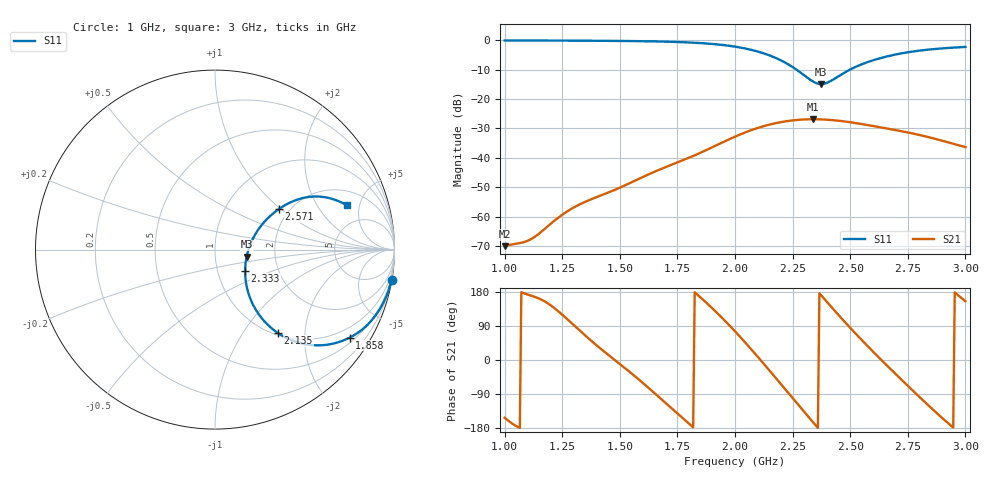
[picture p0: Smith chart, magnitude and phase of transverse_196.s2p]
! TOUCHSTONE file generated by CST MICROWAVE STUDIO
! Date and time: Tue Mar 11 13:57:40 2025
! Project name: transverse.cst
! Parameters = {Fracture=5; B=12.5; D=160; F=15; Feed=2.85625; L=100; M=10; R=0.384908; S=2; Theta=180; length=57.125; wave=114.25}
! Header version: 2024
! Port assignment regex: !\s*Touchstone port\s*([0-9]+)\s*=\s*(CST MWS port|CST DES external port|CST DES block port)\s*(.+)\s* \(\"(.*)\"\)(\s*mode\s*([0-9]+))?.*
! Touchstone port assignment:
! Touchstone port 1 = CST MWS port 1 ("")
! Touchstone port 2 = CST MWS port 2 ("")
# GHz S MA R 50
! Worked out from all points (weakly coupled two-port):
!   304 points, 1 GHz to 3 GHz, reference 50 ohm
!   highest |S21| = -26.85 dB at 2.34 GHz (marker M1); lowest = -70.1 dB at 1 GHz (marker M2)
!   lowest |S11| = -14.9 dB at 2.373 GHz (marker M3), VSWR 1.44, Z = 71.1 - j5.84 ohm
!   |S11| at or under -10 dB: 2.268 GHz to 2.498 GHz (230.4 MHz wide, 9.67 % of centre)
!   S12 and S22 are empty: the file has one direction only
!   S11 on the Smith chart (normalised r, x): 1 GHz: 0, -12; 1.858 GHz: 0.65, -3.23; 2.135 GHz: 1.04, -1.46; 2.333 GHz: 1.36, -0.34; 2.571 GHz: 1.76, +0.97; 3 GHz: 3.04, +3.75
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1  0.9978 -9.7  0.0003131 -152.4  0 0.0  0 0.0
1.07921  0.9966 -10.8  0.0003631 177.1  0 0.0  0 0.0
1.11221  0.9961 -11.3  0.0004075 170.4  0 0.0  0 0.0
1.14521  0.9955 -11.8  0.0004966 163.3  0 0.0  0 0.0
1.25083  0.9929 -13.6  0.001078 119.3  0 0.0  0 0.0
1.33663  0.9893 -15.2  0.001688 72.0  0 0.0  0 0.0
1.48845  0.9804 -18.6  0.00296 -5.0  0 0.0  0 0.0
1.66667  0.9586 -24.1  0.006165 -96.2  0 0.0  0 0.0
1.85809  0.896 -33.2  0.0126 160.9  0 0.0  0 0.0
2.0033  0.7795 -43.2  0.02324 73.6  0 0.0  0 0.0
2.06931  0.6926 -48.3  0.02947 29.1  0 0.0  0 0.0
2.13531  0.5821 -53.0  0.03559 -17.4  0 0.0  0 0.0
2.22772  0.398 -55.8  0.04231 -84.1  0 0.0  0 0.0
2.33333  0.2055 -35.3  0.04541 -160.4  0 0.0  0 0.0
2.33993  0.1983 -32.0  0.04542 -165.1  0 0.0  0 0.0
2.37294  0.1806 -12.7  0.04517 171.5  0 0.0  0 0.0
2.40594  0.1948 6.2  0.04443 148.5  0 0.0  0 0.0
2.47195  0.2778 26.2  0.04183 103.5  0 0.0  0 0.0
2.57096  0.4207 32.4  0.03645 39.6  0 0.0  0 0.0
2.66997  0.5453 31.0  0.03106 -20.8  0 0.0  0 0.0
2.82838  0.6895 24.8  0.02312 -113.5  0 0.0  0 0.0
3  0.7744 18.6  0.01522 155.2  0 0.0  0 0.0
